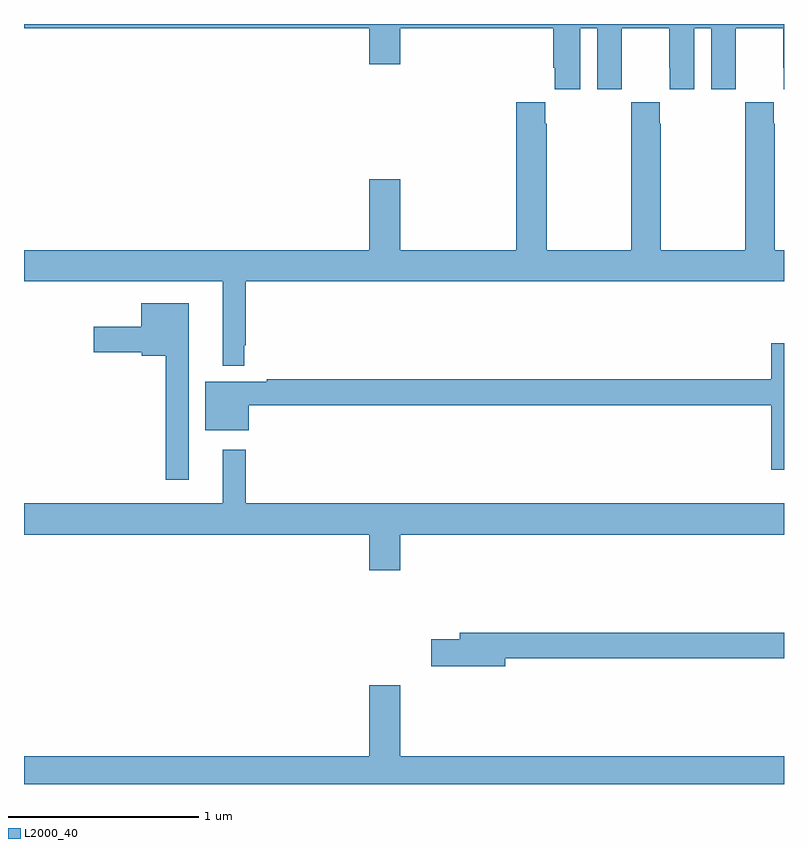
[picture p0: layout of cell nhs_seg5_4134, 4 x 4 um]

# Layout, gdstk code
import gdstk
lib = gdstk.Library(unit=1e-6, precision=1e-09)
def P(c, l, *ps):  # polygons
    for p in ps: c.add(gdstk.Polygon(p, *l))
L2000_40 = (2000, 40)

nhs_seg5_4134 = lib.new_cell('nhs_seg5_4134')
P(nhs_seg5_4134, L2000_40, [(357.928,840.776),(358.016,840.776),(358.016,840.456),(358.146,840.456),(358.146,840.568),(358.147,840.568),(358.147,840.776),(358.397,840.776),(358.397,840.568),(358.398,840.568),(358.398,840.456),(358.528,840.456),(358.528,840.776),(358.616,840.776),(358.616,840.456),(358.746,840.456),(358.746,840.568),(358.747,840.568),(358.747,840.776),(358.997,840.776),(358.997,840.568),(358.998,840.568),(358.998,840.456),(359,840.456),(359,840.799),(355,840.799),(355,840.776),(356.816,840.776),(356.816,840.588),(356.98,840.588),(356.98,840.776),(357.785,840.776),(357.785,840.568),(357.794,840.568),(357.794,840.456),(357.928,840.456)],
  [(358.947,840.275),(358.947,840.388),(358.797,840.388),(358.797,840.275),(358.795,840.275),(358.795,839.608),(358.35,839.608),(358.35,840.275),(358.347,840.275),(358.347,840.388),(358.197,840.388),(358.197,840.275),(358.195,840.275),(358.195,839.608),(357.75,839.608),(357.75,840.275),(357.743,840.275),(357.743,840.388),(357.59,840.388),(357.59,839.608),(356.98,839.608),(356.98,839.983),(356.816,839.983),(356.816,839.608),(355,839.608),(355,839.444),(356.045,839.444),(356.045,839),(356.16,839),(356.16,839.107),(356.167,839.107),(356.167,839.444),(359,839.444),(359,839.608),(358.95,839.608),(358.95,840.275)],
  [(355.867,839.329),(355.616,839.329),(355.616,839.206),(355.368,839.206),(355.368,839.072),(355.62,839.072),(355.62,839.054),(355.746,839.054),(355.746,838.401),(355.867,838.401)],
  [(359,839.119),(358.934,839.119),(358.934,838.928),(356.278,838.928),(356.278,838.915),(355.955,838.915),(355.955,838.661),(356.182,838.661),(356.182,838.792),(358.934,838.792),(358.934,838.452),(359,838.452)],
  [(356.98,838.112),(359,838.112),(359,838.276),(356.167,838.276),(356.167,838.558),(356.045,838.558),(356.045,838.276),(355,838.276),(355,838.112),(356.816,838.112),(356.816,837.924),(356.98,837.924)],
  [(357.532,837.46),(359,837.46),(359,837.596),(357.293,837.596),(357.293,837.56),(357.144,837.56),(357.144,837.418),(357.532,837.418)],
  [(356.98,837.319),(356.816,837.319),(356.816,836.944),(355,836.944),(355,836.799),(359,836.799),(359,836.944),(356.98,836.944)])

lib.write_gds('nhs_seg5_4134.gds')
